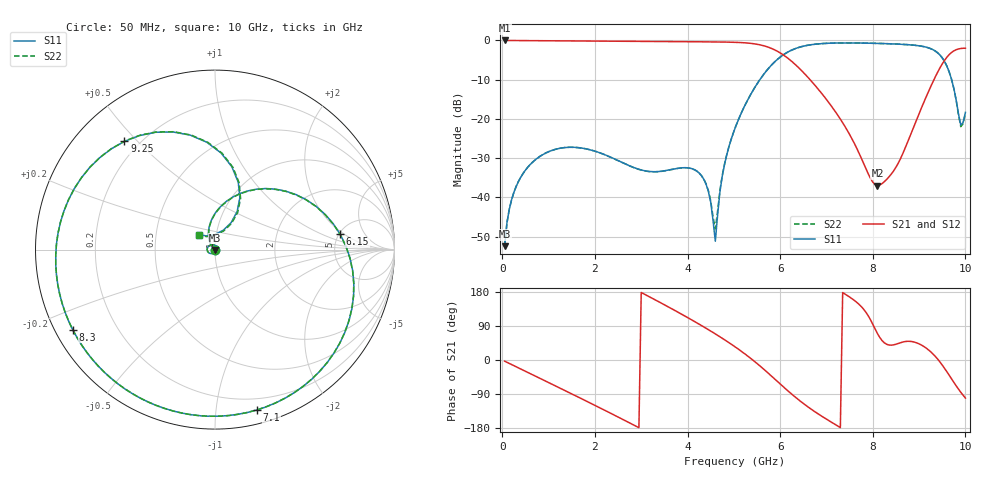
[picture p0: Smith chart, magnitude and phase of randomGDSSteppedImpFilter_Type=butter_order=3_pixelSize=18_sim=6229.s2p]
! freq	dB(S11)	phase(S11)	dB(S12)	phase(S12)
!  dB(S21)	phase(S21)	dB(S22)	phase(S22)
!S-par simulation data
#  GHz  S  DB  R 50
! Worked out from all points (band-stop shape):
!   200 points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, 50 MHz to 10 GHz, reference 50 ohm
!   highest |S21| = -0.01 dB at 50 MHz (marker M1); lowest = -37.0 dB at 8.1 GHz (marker M2)
!   |S21| within 3 dB of the highest: start of sweep to 5.977 GHz; 9.708 GHz to end of sweep
!   lowest |S11| = -52.4 dB at 50 MHz (marker M3), VSWR 1.00, Z = 50 - j0.235 ohm
!   |S11| at or under -10 dB: start of sweep to 5.562 GHz; 9.703 GHz to end of sweep
!   |S22| runs from -52.4 to -0.6 dB; largest |S21 - S12| = 0
!   S11 on the Smith chart (normalised r, x): 50 MHz: 1.00, -0.00; 6.15 GHz: 5.13, +1.72; 7.1 GHz: 0.11, -1.29; 8.3 GHz: 0.05, -0.26; 9.25 GHz: 0.15, +0.46; 10 GHz: 0.83, +0.14
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0.05  -52.45 -79.2  -0.01 -3.0  -0.01 -3.0  -52.45 -79.2
0.2  -40.64 -98.8  -0.02 -12.0  -0.02 -12.0  -40.64 -98.8
0.55  -32.32 -122.6  -0.05 -32.8  -0.05 -32.8  -32.32 -122.6
1.75  -27.51 162.5  -0.13 -104.5  -0.13 -104.5  -27.51 162.8
2.65  -31.45 103.7  -0.20 -159.8  -0.20 -159.8  -31.47 104.5
3.4  -33.39 53.6  -0.26 152.3  -0.26 152.3  -33.43 55.4
4.3  -34.47 0.0  -0.35 91.0  -0.35 91.0  -34.45 3.3
4.5  -41.18 -4.1  -0.37 76.4  -0.37 76.4  -40.87 3.5
4.6  -51.20 67.0  -0.38 68.9  -0.38 68.9  -48.06 66.5
4.75  -34.57 133.5  -0.40 57.3  -0.40 57.3  -34.42 129.4
5.05  -21.63 115.9  -0.49 32.8  -0.49 32.8  -21.62 114.8
5.55  -10.20 71.3  -1.09 -14.2  -1.09 -14.2  -10.20 70.9
6.15  -3.06 6.9  -4.38 -79.6  -4.38 -79.6  -3.06 6.7
6.7  -1.04 -45.2  -10.72 -132.4  -10.72 -132.4  -1.04 -45.4
7.1  -0.69 -75.4  -16.63 -163.6  -16.63 -163.6  -0.69 -75.5
8.1  -0.75 -138.1  -36.99 70.0  -36.99 70.0  -0.75 -138.3
8.3  -0.82 -150.7  -35.42 41.5  -35.42 41.5  -0.82 -150.8
8.35  -0.84 -153.9  -34.77 39.6  -34.77 39.6  -0.84 -154.1
9.25  -2.09 129.9  -11.80 21.7  -11.80 21.7  -2.09 129.6
9.65  -8.01 71.0  -3.61 -40.3  -3.61 -40.3  -8.04 70.2
9.9  -21.56 91.2  -2.05 -85.1  -2.05 -85.1  -21.98 90.6
10  -18.36 136.9  -1.98 -100.5  -1.98 -100.5  -18.51 138.1
